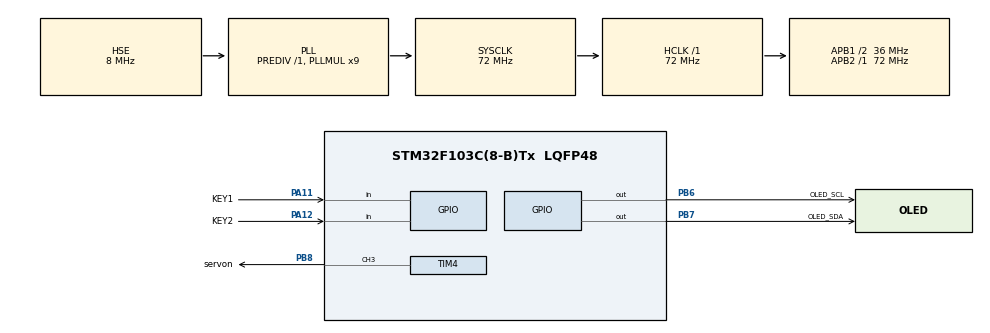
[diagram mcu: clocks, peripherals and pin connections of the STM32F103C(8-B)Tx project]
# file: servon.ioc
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Mcu.Family=STM32F1
Mcu.Name=STM32F103C(8-B)Tx
Mcu.Package=LQFP48
NVIC.PriorityGroup=NVIC_PRIORITYGROUP_4
PA11.GPIO_Label=KEY1
PA11.GPIO_PuPd=GPIO_PULLUP
PA11.Signal=GPIO_Input
PA12.GPIO_Label=KEY2
PA12.GPIO_PuPd=GPIO_PULLUP
PA12.Signal=GPIO_Input
PA13.Mode=Serial_Wire
PA13.Signal=SYS_JTMS-SWDIO
PA14.Mode=Serial_Wire
PA14.Signal=SYS_JTCK-SWCLK
PB6.GPIO_Label=OLED_SCL
PB6.GPIO_ModeDefaultOutputPP=GPIO_MODE_OUTPUT_OD
PB6.GPIO_PuPd=GPIO_NOPULL
PB6.GPIO_Speed=GPIO_SPEED_FREQ_HIGH
PB6.Signal=GPIO_Output
PB7.GPIO_Label=OLED_SDA
PB7.GPIO_ModeDefaultOutputPP=GPIO_MODE_OUTPUT_OD
PB7.GPIO_PuPd=GPIO_NOPULL
PB7.GPIO_Speed=GPIO_SPEED_FREQ_HIGH
PB7.PinState=GPIO_PIN_RESET
PB7.Signal=GPIO_Output
PB8.GPIO_Label=servon
PB8.Signal=S_TIM4_CH3
PD0-OSC_IN.Mode=HSE-External-Oscillator
PD0-OSC_IN.Signal=RCC_OSC_IN
PD1-OSC_OUT.Mode=HSE-External-Oscillator
PD1-OSC_OUT.Signal=RCC_OSC_OUT
ProjectManager.HeapSize=0x200
ProjectManager.StackSize=0x400
ProjectManager.TargetToolchain=CMake
RCC.AHBFreq_Value=72000000
RCC.APB1CLKDivider=RCC_HCLK_DIV2
RCC.APB1Freq_Value=36000000
RCC.APB1TimFreq_Value=72000000
RCC.APB2Freq_Value=72000000
RCC.APB2TimFreq_Value=72000000
RCC.HCLKFreq_Value=72000000
RCC.PLLMUL=RCC_PLL_MUL9
RCC.PLLSourceVirtual=RCC_PLLSOURCE_HSE
RCC.SYSCLKFreq_VALUE=72000000
RCC.SYSCLKSource=RCC_SYSCLKSOURCE_PLLCLK
RCC.USBFreq_Value=72000000
SH.S_TIM4_CH3.0=TIM4_CH3,PWM Generation3 CH3
TIM4.AutoReloadPreload=TIM_AUTORELOAD_PRELOAD_ENABLE
TIM4.Channel-PWM\ Generation3\ CH3=TIM_CHANNEL_3
TIM4.Period=19999
TIM4.Prescaler=71
board=custom

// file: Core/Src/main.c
/* USER CODE BEGIN Header */
/**
  ******************************************************************************
  * @file           : main.c
  * @brief          : Main program body
  ******************************************************************************
  * @attention
  *
  * Copyright (c) 2026 STMicroelectronics.
  * All rights reserved.
  *
  * This software is licensed under terms that can be found in the LICENSE file
  * in the root directory of this software component.
  * If no LICENSE file comes with this software, it is provided AS-IS.
  *
  ******************************************************************************
  */
/* USER CODE END Header */
#include "main.h"
#include "gpio.h"
#include "tim.h"

/* USER CODE BEGIN Includes */
#include "KEY.h"
#include "oled.h"
#include "servon.h"
/* USER CODE END Includes */

/* USER CODE BEGIN PD */
#define STEP_ANGLE  30   // 每次按下按键移动的角度
/* USER CODE END PD */

/* USER CODE BEGIN PV */
static uint8_t current_angle = 90;   // 当前舵机角度（0~180）
/* USER CODE END PV */

void SystemClock_Config(void);

int main(void)
{

  /* MCU Configuration--------------------------------------------------------*/

  /* Reset of all peripherals, Initializes the Flash interface and the Systick. */
  HAL_Init();

  /* Configure the system clock */
  SystemClock_Config();

  /* Initialize all configured peripherals */
  MX_GPIO_Init();
  MX_TIM4_Init();
  /* USER CODE BEGIN 2 */
  KEY_Init();            // 按键初始化（实际GPIO已在MX_GPIO_Init配置，但保留调用）
  OLED_Init();           // OLED初始化
  Servo_Init();          // 舵机初始化（自动定位到90°）
  current_angle = 90;    // 初始化当前角度
  OLED_ShowString(1, 1, "Angle: ");
  OLED_ShowNum(1, 8, current_angle, 3);
  /* USER CODE END 2 */

  /* Infinite loop */
  /* USER CODE BEGIN WHILE */
  while (1)
  {
    Key_ID key = KEY_Scan();   // 获取按键（无阻塞）
    if (key == KEY_1)          // 假设KEY_1为增加角度
    {
      if (current_angle + STEP_ANGLE <= 180)
      {
        current_angle += STEP_ANGLE;
        Servo_SetAngleAbs(current_angle);
        OLED_ShowNum(1, 8, current_angle, 3);
      }
    }
    else if (key == KEY_2)     // KEY_2为减少角度
    {
      if (current_angle >= STEP_ANGLE)
      {
        current_angle -= STEP_ANGLE;
        Servo_SetAngleAbs(current_angle);
        OLED_ShowNum(1, 8, current_angle, 3);
      }
    }
    /* USER CODE END WHILE */

  }
}

void SystemClock_Config(void)
{
  RCC_OscInitTypeDef RCC_OscInitStruct = {0};
  RCC_ClkInitTypeDef RCC_ClkInitStruct = {0};

  /** Initializes the RCC Oscillators according to the specified parameters
  * in the RCC_OscInitTypeDef structure.
  */
  RCC_OscInitStruct.OscillatorType = RCC_OSCILLATORTYPE_HSE;
  RCC_OscInitStruct.HSEState = RCC_HSE_ON;
  RCC_OscInitStruct.HSEPredivValue = RCC_HSE_PREDIV_DIV1;
  RCC_OscInitStruct.HSIState = RCC_HSI_ON;
  RCC_OscInitStruct.PLL.PLLState = RCC_PLL_ON;
  RCC_OscInitStruct.PLL.PLLSource = RCC_PLLSOURCE_HSE;
  RCC_OscInitStruct.PLL.PLLMUL = RCC_PLL_MUL9;
  if (HAL_RCC_OscConfig(&RCC_OscInitStruct) != HAL_OK)
  {
    Error_Handler();
  }

  /** Initializes the CPU, AHB and APB buses clocks
  */
  RCC_ClkInitStruct.ClockType = RCC_CLOCKTYPE_HCLK|RCC_CLOCKTYPE_SYSCLK
                              |RCC_CLOCKTYPE_PCLK1|RCC_CLOCKTYPE_PCLK2;
  RCC_ClkInitStruct.SYSCLKSource = RCC_SYSCLKSOURCE_PLLCLK;
  RCC_ClkInitStruct.AHBCLKDivider = RCC_SYSCLK_DIV1;
  RCC_ClkInitStruct.APB1CLKDivider = RCC_HCLK_DIV2;
  RCC_ClkInitStruct.APB2CLKDivider = RCC_HCLK_DIV1;

  if (HAL_RCC_ClockConfig(&RCC_ClkInitStruct, FLASH_LATENCY_2) != HAL_OK)
  {
    Error_Handler();
  }
}

void Error_Handler(void)
{
  __disable_irq();
  while (1)
  {
  }
}
